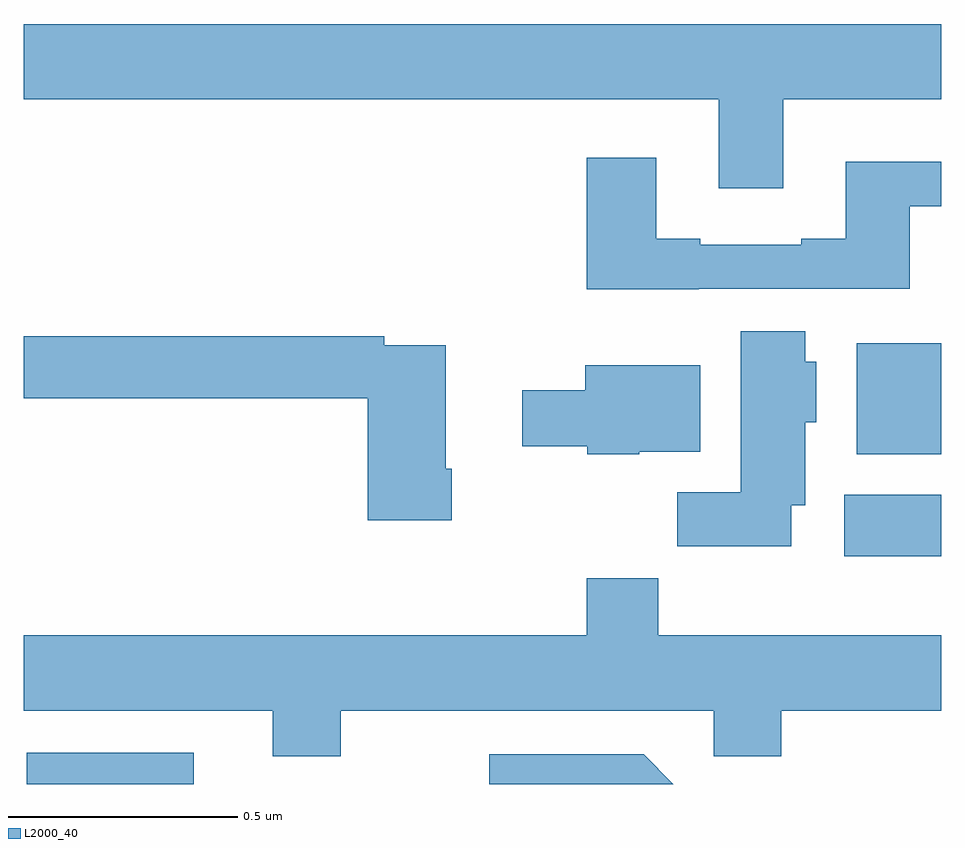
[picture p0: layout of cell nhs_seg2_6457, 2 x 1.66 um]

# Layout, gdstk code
import gdstk
lib = gdstk.Library(unit=1e-6, precision=1e-09)
def R(c, l, rs):  # rectangles x0, y0, x1, y1
    for r in rs: c.add(gdstk.rectangle(r[:2], r[2:], *l))
def P(c, l, *ps):  # polygons
    for p in ps: c.add(gdstk.Polygon(p, *l))
L2000_40 = (2000, 40)

nhs_seg2_6457 = lib.new_cell('nhs_seg2_6457')
R(nhs_seg2_6457, L2000_40, [(191.007,656.8,191.371,656.868), (192.788,657.296,193,657.43), (192.815,657.518,193,657.76)])
P(nhs_seg2_6457, L2000_40, [(192.655,658.292),(193,658.292),(193,658.456),(191,658.456),(191,658.292),(192.515,658.292),(192.515,658.098),(192.655,658.098)],
  [(192.471,657.879),(192.931,657.879),(192.931,658.059),(193,658.059),(193,658.156),(192.791,658.156),(192.791,657.988),(192.695,657.988),(192.695,657.975),(192.475,657.975),(192.475,657.988),(192.379,657.988),(192.379,658.165),(192.227,658.165),(192.227,657.878),(192.471,657.878)],
  [(192.673,657.407),(192.703,657.407),(192.703,657.588),(192.727,657.588),(192.727,657.72),(192.703,657.72),(192.703,657.787),(192.563,657.787),(192.563,657.436),(192.424,657.436),(192.424,657.318),(192.673,657.318)],
  [(191.933,657.487),(191.92,657.487),(191.92,657.756),(191.786,657.756),(191.786,657.776),(191,657.776),(191,657.64),(191.75,657.64),(191.75,657.375),(191.933,657.375)],
  [(192.342,657.524),(192.475,657.524),(192.475,657.712),(192.224,657.712),(192.224,657.658),(192.087,657.658),(192.087,657.536),(192.228,657.536),(192.228,657.518),(192.342,657.518)],
  [(191.691,656.96),(192.504,656.96),(192.504,656.861),(192.651,656.861),(192.651,656.96),(193,656.96),(193,657.124),(192.383,657.124),(192.383,657.248),(192.227,657.248),(192.227,657.124),(191,657.124),(191,656.96),(191.543,656.96),(191.543,656.861),(191.691,656.861)],
  [(192.351,656.865),(192.015,656.865),(192.015,656.8),(192.416,656.8)])

lib.write_gds('nhs_seg2_6457.gds')
